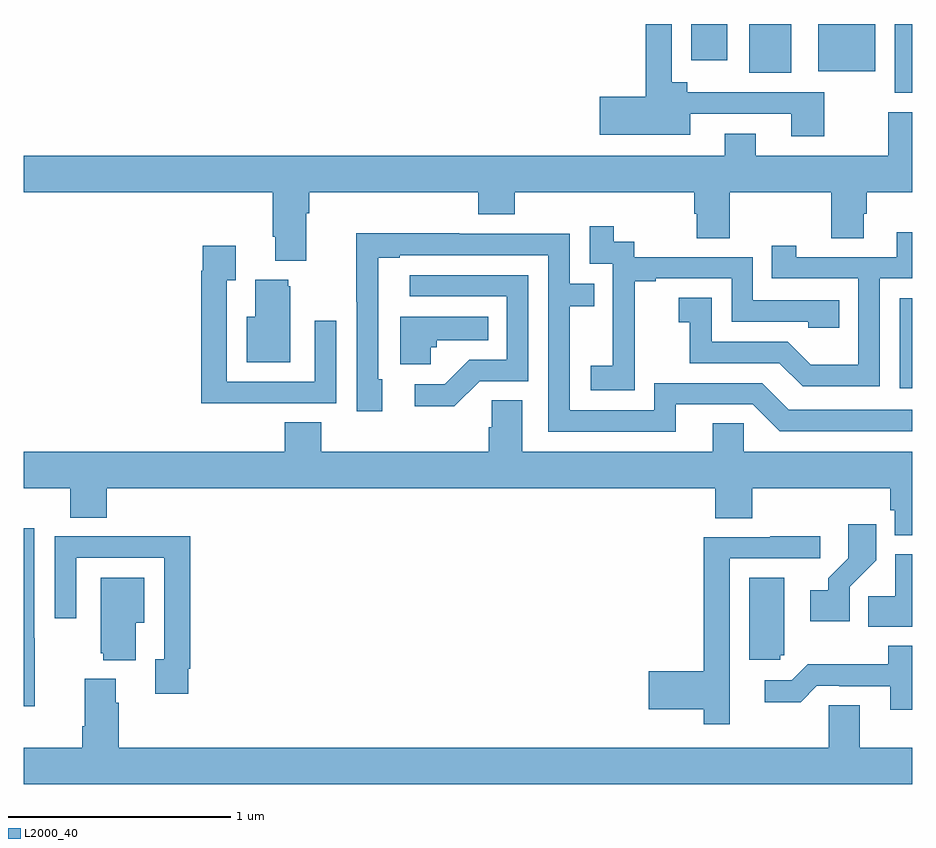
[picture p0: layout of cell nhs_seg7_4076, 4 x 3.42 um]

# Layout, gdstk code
import gdstk
lib = gdstk.Library(unit=1e-6, precision=1e-09)
def R(c, l, rs):  # rectangles x0, y0, x1, y1
    for r in rs: c.add(gdstk.rectangle(r[:2], r[2:], *l))
def P(c, l, *ps):  # polygons
    for p in ps: c.add(gdstk.Polygon(p, *l))
L2000_40 = (2000, 40)

nhs_seg7_4076 = lib.new_cell('nhs_seg7_4076')
R(nhs_seg7_4076, L2000_40, [(372.942,1038.36,373,1038.765), (372.92,1039.691,373,1040), (372.266,1039.781,372.454,1040), (372.575,1039.787,372.832,1040), (372.005,1039.836,372.166,1040)])
P(nhs_seg7_4076, L2000_40, [(372.603,1039.692),(371.986,1039.692),(371.986,1039.738),(371.916,1039.738),(371.916,1040),(371.8,1040),(371.8,1039.673),(371.592,1039.673),(371.592,1039.502),(372.001,1039.502),(372.001,1039.596),(372.455,1039.596),(372.455,1039.494),(372.603,1039.494)],
  [(370.273,1039.148),(370.286,1039.148),(370.286,1039.244),(371.045,1039.244),(371.045,1039.145),(371.21,1039.145),(371.21,1039.244),(372.017,1039.244),(372.017,1039.146),(372.029,1039.146),(372.029,1039.036),(372.177,1039.036),(372.177,1039.244),(372.634,1039.244),(372.634,1039.036),(372.781,1039.036),(372.781,1039.146),(372.794,1039.146),(372.794,1039.244),(373,1039.244),(373,1039.603),(372.892,1039.603),(372.892,1039.408),(372.295,1039.408),(372.295,1039.507),(372.155,1039.507),(372.155,1039.408),(369,1039.408),(369,1039.244),(370.121,1039.244),(370.121,1039.042),(370.133,1039.042),(370.133,1038.935),(370.273,1038.935)],
  [(371.751,1038.559),(371.75,1038.559),(371.75,1038.843),(371.845,1038.843),(371.845,1038.855),(372.186,1038.855),(372.186,1038.66),(372.531,1038.66),(372.531,1038.633),(372.671,1038.633),(372.671,1038.756),(372.282,1038.756),(372.282,1038.951),(371.748,1038.951),(371.748,1039.02),(371.656,1039.02),(371.656,1039.09),(371.547,1039.09),(371.547,1038.921),(371.652,1038.921),(371.652,1038.692),(371.651,1038.692),(371.651,1038.463),(371.553,1038.463),(371.553,1038.353),(371.751,1038.353)],
  [(372.852,1038.855),(373,1038.855),(373,1039.063),(372.929,1039.063),(372.929,1038.951),(372.478,1038.951),(372.478,1039.003),(372.367,1039.003),(372.367,1038.855),(372.756,1038.855),(372.756,1038.466),(372.542,1038.466),(372.438,1038.57),(372.096,1038.57),(372.096,1038.769),(371.949,1038.769),(371.949,1038.659),(371.998,1038.659),(371.998,1038.474),(372.401,1038.474),(372.506,1038.369),(372.852,1038.369)],
  [(371.935,1038.288),(372.282,1038.288),(372.402,1038.168),(373,1038.168),(373,1038.264),(372.444,1038.264),(372.324,1038.384),(371.838,1038.384),(371.838,1038.261),(371.457,1038.261),(371.457,1038.73),(371.567,1038.73),(371.567,1038.831),(371.457,1038.831),(371.457,1039.056),(370.961,1039.056),(370.961,1039.058),(370.498,1039.058),(370.498,1038.751),(370.5,1038.751),(370.5,1038.257),(370.615,1038.257),(370.615,1038.402),(370.596,1038.402),(370.596,1038.948),(370.693,1038.948),(370.693,1038.96),(371.361,1038.96),(371.361,1038.165),(371.935,1038.165)],
  [(370.091,1038.294),(370.407,1038.294),(370.407,1038.664),(370.311,1038.664),(370.311,1038.39),(369.915,1038.39),(369.915,1038.847),(369.955,1038.847),(369.955,1039.003),(369.807,1039.003),(369.807,1038.89),(369.799,1038.89),(369.799,1038.293),(370.091,1038.293)],
  [(371.052,1038.393),(371.271,1038.393),(371.271,1038.87),(370.737,1038.87),(370.737,1038.774),(371.175,1038.774),(371.175,1038.489),(371.006,1038.489),(370.895,1038.378),(370.761,1038.378),(370.761,1038.281),(370.939,1038.281)],
  [(370.201,1038.819),(370.19,1038.819),(370.19,1038.85),(370.043,1038.85),(370.043,1038.682),(370.004,1038.682),(370.004,1038.479),(370.201,1038.479)],
  [(370.833,1038.546),(370.86,1038.546),(370.86,1038.578),(371.09,1038.578),(371.09,1038.682),(370.694,1038.682),(370.694,1038.47),(370.833,1038.47)],
  [(373,1038.076),(372.24,1038.076),(372.24,1038.203),(372.101,1038.203),(372.101,1038.076),(371.245,1038.076),(371.245,1038.308),(371.106,1038.308),(371.106,1038.185),(371.093,1038.185),(371.093,1038.076),(370.34,1038.076),(370.34,1038.209),(370.175,1038.209),(370.175,1038.076),(369,1038.076),(369,1037.912),(369.209,1037.912),(369.209,1037.779),(369.374,1037.779),(369.374,1037.912),(372.113,1037.912),(372.113,1037.776),(372.278,1037.776),(372.278,1037.912),(372.901,1037.912),(372.901,1037.811),(372.921,1037.811),(372.921,1037.699),(373,1037.699)],
  [(372.717,1037.467),(372.836,1037.586),(372.836,1037.749),(372.711,1037.749),(372.711,1037.597),(372.62,1037.507),(372.62,1037.452),(372.54,1037.452),(372.54,1037.312),(372.717,1037.312)],
  [(369.051,1037.237),(369.048,1037.237),(369.048,1037.731),(369,1037.731),(369,1036.93),(369.051,1036.93)],
  [(369.742,1037.098),(369.749,1037.098),(369.749,1037.696),(369.457,1037.696),(369.457,1037.694),(369.141,1037.694),(369.141,1037.325),(369.237,1037.325),(369.237,1037.598),(369.633,1037.598),(369.633,1037.142),(369.593,1037.142),(369.593,1036.986),(369.742,1036.986)],
  [(372.178,1037.07),(372.177,1037.07),(372.177,1037.595),(372.586,1037.595),(372.586,1037.694),(372.361,1037.694),(372.361,1037.691),(372.061,1037.691),(372.061,1037.087),(371.814,1037.087),(371.814,1036.916),(372.061,1036.916),(372.061,1036.848),(372.178,1036.848)],
  [(373,1037.614),(372.923,1037.614),(372.923,1037.426),(372.802,1037.426),(372.802,1037.288),(373,1037.288)],
  [(369.505,1037.306),(369.544,1037.306),(369.544,1037.509),(369.347,1037.509),(369.347,1037.169),(369.359,1037.169),(369.359,1037.138),(369.505,1037.138)],
  [(372.405,1037.16),(372.424,1037.16),(372.424,1037.509),(372.266,1037.509),(372.266,1037.139),(372.405,1037.139)],
  [(373,1037.203),(372.892,1037.203),(372.892,1037.119),(372.529,1037.119),(372.456,1037.046),(372.336,1037.046),(372.336,1036.949),(372.497,1036.949),(372.57,1037.022),(372.67,1037.022),(372.67,1037.019),(372.899,1037.019),(372.899,1036.914),(373,1036.914)],
  [(373,1036.744),(372.763,1036.744),(372.763,1036.934),(372.624,1036.934),(372.624,1036.744),(369.428,1036.744),(369.428,1036.946),(369.415,1036.946),(369.415,1037.053),(369.275,1037.053),(369.275,1036.84),(369.263,1036.84),(369.263,1036.744),(369,1036.744),(369,1036.58),(373,1036.58)])

lib.write_gds('nhs_seg7_4076.gds')
